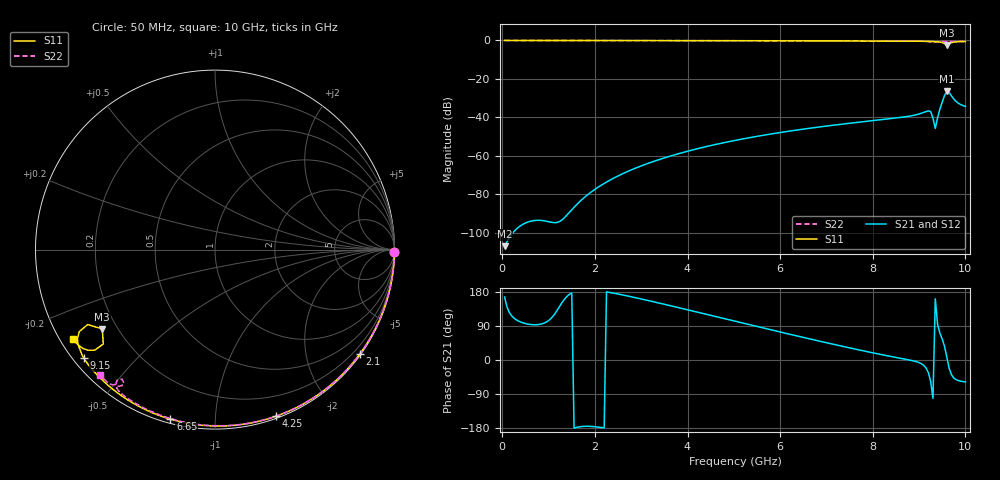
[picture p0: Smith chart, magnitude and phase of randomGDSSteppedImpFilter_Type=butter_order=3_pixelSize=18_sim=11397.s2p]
! freq	dB(S11)	phase(S11)	dB(S12)	phase(S12)
!  dB(S21)	phase(S21)	dB(S22)	phase(S22)
!S-par simulation data
#  GHz  S  DB  R 50
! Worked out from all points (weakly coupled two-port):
!   200 points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, 50 MHz to 10 GHz, reference 50 ohm
!   highest |S21| = -26.50 dB at 9.6 GHz (marker M1); lowest = -106.9 dB at 50 MHz (marker M2)
!   lowest |S11| = -2.3 dB at 9.6 GHz (marker M3), VSWR 7.61, Z = 7.21 - j15.5 ohm
!   |S11| at or under -10 dB: nowhere
!   |S22| runs from -1.0 to 0.0 dB; largest |S21 - S12| = 0
!   S11 on the Smith chart (normalised r, x): 50 MHz: open; 2.1 GHz: 0.03, -3.11; 4.25 GHz: 0.02, -1.43; 6.65 GHz: 0.02, -0.77; 9.15 GHz: 0.03, -0.36; 10 GHz: 0.04, -0.29
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0.05  -0.00 -0.9  -106.90 166.2  -106.90 166.2  -0.00 -0.8
1.75  -0.04 -29.8  -82.04 -175.1  -82.04 -175.1  -0.03 -26.5
1.85  -0.04 -31.5  -80.05 -174.9  -80.05 -174.9  -0.04 -28.0
2.1  -0.05 -35.6  -75.78 -177.5  -75.78 -177.5  -0.04 -31.7
2.7  -0.06 -45.4  -68.15 169.1  -68.15 169.1  -0.05 -40.5
3.4  -0.08 -56.6  -61.79 149.9  -61.79 149.9  -0.07 -50.5
4.25  -0.10 -69.8  -56.04 125.2  -56.04 125.2  -0.09 -62.4
5.05  -0.13 -81.8  -51.83 101.6  -51.83 101.6  -0.11 -73.1
6.65  -0.20 -104.7  -45.58 55.3  -45.58 55.3  -0.18 -93.6
6.7  -0.21 -105.4  -45.42 53.9  -45.42 53.9  -0.18 -94.3
8.35  -0.33 -128.3  -40.75 10.3  -40.75 10.3  -0.29 -114.4
8.85  -0.39 -135.5  -39.07 -1.6  -39.07 -1.6  -0.34 -120.6
9.15  -0.46 -140.4  -36.94 -21.0  -36.94 -21.0  -0.48 -125.3
9.25  -0.52 -142.3  -36.96 -56.5  -36.96 -56.5  -0.81 -126.8
9.3  -0.57 -143.2  -40.42 -101.3  -40.42 -101.3  -1.03 -125.7
9.35  -0.61 -144.3  -45.74 161.4  -45.74 161.4  -0.91 -124.3
9.45  -0.80 -147.1  -35.65 70.8  -35.65 70.8  -0.62 -125.2
9.55  -1.69 -149.5  -28.60 35.8  -28.60 35.8  -0.56 -126.5
9.6  -2.29 -144.9  -26.50 6.5  -26.50 6.5  -0.52 -126.9
9.7  -1.18 -140.1  -28.83 -39.0  -28.83 -39.0  -0.44 -128.5
9.85  -0.67 -144.5  -32.64 -54.4  -32.64 -54.4  -0.44 -130.6
10  -0.59 -147.7  -34.26 -57.8  -34.26 -57.8  -0.45 -132.5
